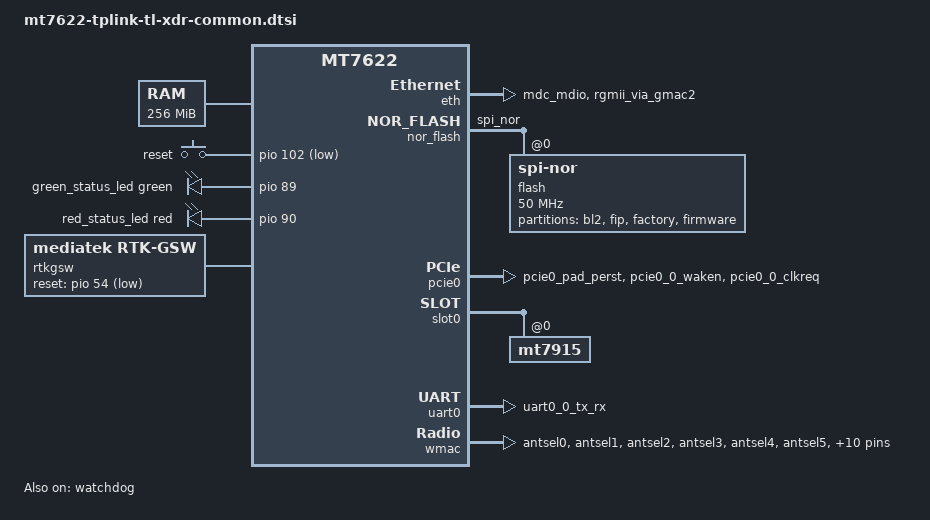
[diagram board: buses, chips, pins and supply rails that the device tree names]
// SPDX-License-Identifier: GPL-2.0-or-later OR MIT

/dts-v1/;
#include <dt-bindings/input/input.h>
#include <dt-bindings/leds/common.h>
#include <dt-bindings/gpio/gpio.h>

#include "mt7622.dtsi"
#include "mt6380.dtsi"

/ {
	aliases {
		led-boot = &red_status_led;
		led-failsafe = &red_status_led;
		led-running = &green_status_led;
		led-upgrade = &green_status_led;
		label-mac-device = &gmac0;
		serial0 = &uart0;
	};

	chosen {
		stdout-path = "serial0:115200n8";
		bootargs = "earlycon=uart8250,mmio32,0x11002000 swiotlb=512 root=/dev/fit0 rootwait";
		rootdisk = <&nor_rootdisk>;
	};

	memory@40000000 {
		reg = <0 0x40000000 0 0x10000000>;
		device_type = "memory";
	};

	cpus {
		cpu@0 {
			proc-supply = <&mt6380_vcpu_reg>;
			sram-supply = <&mt6380_vm_reg>;
		};

		cpu@1 {
			proc-supply = <&mt6380_vcpu_reg>;
			sram-supply = <&mt6380_vm_reg>;
		};
	};

	gpio-keys {
		compatible = "gpio-keys";
		#address-cells = <1>;
		#size-cells = <0>;

		/* It seems that reset isn't connected to any MT7622 GPIO. Here's the WPS button. */
		button-reset {
			label = "reset";
			gpios = <&pio 102 GPIO_ACTIVE_LOW>;
			linux,code = <KEY_RESTART>;
		};
	};

	gpio-leds {
		compatible = "gpio-leds";

		green_status_led: led-0 {
			function = LED_FUNCTION_STATUS;
			color = <LED_COLOR_ID_GREEN>;
			gpios = <&pio 89 GPIO_ACTIVE_HIGH>;
		};

		red_status_led: led-1 {
			function = LED_FUNCTION_STATUS;
			color = <LED_COLOR_ID_RED>;
			gpios = <&pio 90 GPIO_ACTIVE_HIGH>;
		};
	};

	rtkgsw: rtkgsw@0 {
		compatible = "mediatek,rtk-gsw";
		mediatek,ethsys = <&ethsys>;
		mediatek,mdio = <&mdio>;
		reset-gpios = <&pio 54 GPIO_ACTIVE_LOW>;
		status = "okay";
	};
};

&eth {
	status = "okay";
	pinctrl-names = "default";
	pinctrl-0 = <&eth_pins>;

	gmac0: mac@0 {
		compatible = "mediatek,eth-mac";
		reg = <0>;

		nvmem-cells = <&macaddr_factory_d81c 0>;
		nvmem-cell-names = "mac-address";
		phy-connection-type = "2500base-x";

		fixed-link {
			speed = <2500>;
			full-duplex;
			pause;
		};
	};

	gmac1: mac@1 {
		compatible = "mediatek,eth-mac";
		reg = <1>;

		nvmem-cells = <&macaddr_factory_d81c 1>;
		nvmem-cell-names = "mac-address";
		phy-mode = "rgmii";

		fixed-link {
			speed = <1000>;
			full-duplex;
			pause;
		};
	};

	mdio: mdio-bus {
		#address-cells = <1>;
		#size-cells = <0>;
	};
};

&nor_flash {
	pinctrl-names = "default";
	pinctrl-0 = <&spi_nor_pins>;
	status = "okay";

	flash@0 {
		compatible = "jedec,spi-nor";
		reg = <0>;

		spi-tx-bus-width = <4>;
		spi-rx-bus-width = <4>;
		spi-max-frequency = <50000000>;

		partitions {
			compatible = "fixed-partitions";
			#address-cells = <1>;
			#size-cells = <1>;

			partition@0 {
				label = "bl2";
				reg = <0x0 0x20000>;
				read-only;
			};

			partition@20000 {
				label = "fip";
				reg = <0x20000 0x40000>;
				read-only;
			};

			partition@60000 {
				label = "factory";
				reg = <0x60000 0x20000>;
				read-only;

				nvmem-layout {
					compatible = "fixed-layout";
					#address-cells = <1>;
					#size-cells = <1>;

					eeprom_factory_e000: eeprom@e000 {
						/* actual length 0x400 */
						reg = <0xe000 0x4da8>;
					};

					eeprom_factory_f000: eeprom@f000 {
						reg = <0xf000 0xe00>;
					};

					macaddr_factory_d81c: macaddr@d81c {
						compatible = "mac-base";
						reg = <0xd81c 0x6>;
						#nvmem-cell-cells = <1>;
					};
				};
			};

			nor_rootdisk: partition@80000 {
				compatible = "denx,fit";
				label = "firmware";
				reg = <0x80000 0xf80000>;
			};
		};
	};
};

&pcie0 {
	pinctrl-names = "default";
	pinctrl-0 = <&pcie0_pins>;
	status = "okay";
};

&pio {
	epa_elna_pins: epa-elna-pins {
		mux {
			function = "antsel";
			groups = "antsel0", "antsel1", "antsel2", "antsel3",
				 "antsel4", "antsel5", "antsel6", "antsel7",
				 "antsel8", "antsel9", "antsel12", "antsel13",
				 "antsel14", "antsel15", "antsel16", "antsel17";
		};
	};

	eth_pins: eth-pins {
		mux {
			function = "eth";
			groups = "mdc_mdio", "rgmii_via_gmac2";
		};
	};

	pcie0_pins: pcie0-pins {
		mux {
			function = "pcie";
			groups = "pcie0_pad_perst",
				 "pcie0_0_waken",
				 "pcie0_0_clkreq";
		};
	};

	pmic_bus_pins: pmic-bus-pins {
		mux {
			function = "pmic";
			groups = "pmic_bus";
		};
	};

	spi_nor_pins: spi-nor-pins {
		mux {
			function = "flash";
			groups = "spi_nor";
		};
	};

	uart0_pins: uart0-pins {
		mux {
			function = "uart";
			groups = "uart0_0_tx_rx";
		};
	};

	watchdog_pins: watchdog-pins {
		mux {
			function = "watchdog";
			groups = "watchdog";
		};
	};
};

&pwrap {
	pinctrl-names = "default";
	pinctrl-0 = <&pmic_bus_pins>;
	status = "okay";
};

&rtc {
	status = "disabled";
};

&slot0 {
	mt7915@0,0 {
		reg = <0x0000 0 0 0 0>;
		ieee80211-freq-limit = <5000000 6000000>;
		nvmem-cells = <&eeprom_factory_f000>, <&macaddr_factory_d81c 2>;
		nvmem-cell-names = "eeprom", "mac-address";
	};
};

&uart0 {
	pinctrl-names = "default";
	pinctrl-0 = <&uart0_pins>;
	status = "okay";
};

&watchdog {
	pinctrl-names = "default";
	pinctrl-0 = <&watchdog_pins>;
	status = "okay";
};

&wmac {
	nvmem-cells = <&eeprom_factory_e000>, <&macaddr_factory_d81c 0>;
	nvmem-cell-names = "eeprom", "mac-address";
	pinctrl-names = "default";
	pinctrl-0 = <&epa_elna_pins>;
	status = "okay";
};
